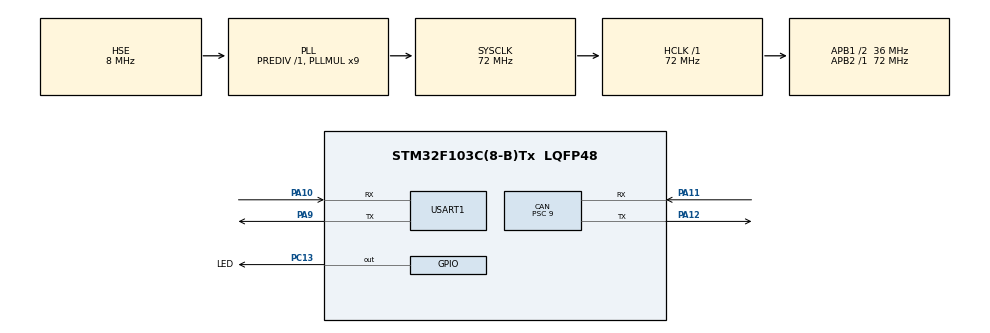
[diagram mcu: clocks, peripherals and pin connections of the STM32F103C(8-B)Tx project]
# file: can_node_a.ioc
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CAN.ABOM=ENABLE
CAN.BS1=CAN_BS1_3TQ
CAN.BS2=CAN_BS2_3TQ
CAN.CalculateBaudRate=571428
CAN.CalculateTimeBit=1750
CAN.CalculateTimeQuantum=250.0
CAN.Prescaler=9
FREERTOS.Queues01=CanMsgQueue,16,48,1,Dynamic,NULL,NULL
FREERTOS.Tasks01=CanTxTask,24,256,CanTxTask1,As weak,NULL,Dynamic,NULL,NULL;LedTask,24,128,LedTask1,As weak,NULL,Dynamic,NULL,NULL;CanRxTask,40,256,CanRxTask1,As weak,NULL,Dynamic,NULL,NULL
FREERTOS.configTOTAL_HEAP_SIZE=8192
Mcu.Family=STM32F1
Mcu.Name=STM32F103C(8-B)Tx
Mcu.Package=LQFP48
NVIC.PriorityGroup=NVIC_PRIORITYGROUP_4
NVIC.TIM4_IRQn=true\:15\:0\:false\:false\:true\:false\:false\:true\:true
NVIC.TimeBase=TIM4_IRQn
NVIC.TimeBaseIP=TIM4
PA10.Mode=Asynchronous
PA10.Signal=USART1_RX
PA11.Mode=CAN_Activate
PA11.Signal=CAN_RX
PA12.Mode=CAN_Activate
PA12.Signal=CAN_TX
PA13.Mode=Serial_Wire
PA13.Signal=SYS_JTMS-SWDIO
PA14.Mode=Serial_Wire
PA14.Signal=SYS_JTCK-SWCLK
PA9.Mode=Asynchronous
PA9.Signal=USART1_TX
PC13-TAMPER-RTC.GPIO_Label=LED
PC13-TAMPER-RTC.PinState=GPIO_PIN_SET
PC13-TAMPER-RTC.Signal=GPIO_Output
PD0-OSC_IN.Mode=HSE-External-Oscillator
PD0-OSC_IN.Signal=RCC_OSC_IN
PD1-OSC_OUT.Mode=HSE-External-Oscillator
PD1-OSC_OUT.Signal=RCC_OSC_OUT
ProjectManager.HeapSize=0x200
ProjectManager.StackSize=0x400
ProjectManager.TargetToolchain=CMake
RCC.AHBFreq_Value=72000000
RCC.APB1CLKDivider=RCC_HCLK_DIV2
RCC.APB1Freq_Value=36000000
RCC.APB1TimFreq_Value=72000000
RCC.APB2Freq_Value=72000000
RCC.APB2TimFreq_Value=72000000
RCC.HCLKFreq_Value=72000000
RCC.PLLMUL=RCC_PLL_MUL9
RCC.PLLSourceVirtual=RCC_PLLSOURCE_HSE
RCC.SYSCLKFreq_VALUE=72000000
RCC.SYSCLKSource=RCC_SYSCLKSOURCE_PLLCLK
RCC.USBFreq_Value=72000000
USART1.VirtualMode=VM_ASYNC
VP_FREERTOS_VS_CMSIS_V2.Mode=CMSIS_V2
VP_SYS_VS_tim4.Mode=TIM4
board=custom

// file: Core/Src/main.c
/* USER CODE BEGIN Header */
/**
  ******************************************************************************
  * @file           : main.c
  * @brief          : Main program body
  ******************************************************************************
  * @attention
  *
  * Copyright (c) 2026 STMicroelectronics.
  * All rights reserved.
  *
  * This software is licensed under terms that can be found in the LICENSE file
  * in the root directory of this software component.
  * If no LICENSE file comes with this software, it is provided AS-IS.
  *
  ******************************************************************************
  */
/* USER CODE END Header */
#include "main.h"
#include "cmsis_os.h"
#include "can.h"
#include "usart.h"
#include "gpio.h"

/* USER CODE BEGIN Includes */
#include <stdio.h>
#include "can_app.h"
/* USER CODE END Includes */

void SystemClock_Config(void);
void MX_FREERTOS_Init(void);

/* USER CODE BEGIN 0 */

/**
  * @brief   输出一个字符到 USART1（printf 重定向核心函数）
  * @param   ch   待输出的字符
  * @retval  返回字符本身
  * @note    syscalls.c 中的 _write() 会逐个字符调用此函数
  *          此函数覆盖了 syscalls.c 中 __weak 的默认空实现
  */
int __io_putchar(int ch)
{
    HAL_UART_Transmit(&huart1, (uint8_t *)&ch, 1, HAL_MAX_DELAY);
    return ch;
}

/* USER CODE END 0 */

int main(void)
{

  /* MCU Configuration--------------------------------------------------------*/

  /* Reset of all peripherals, Initializes the Flash interface and the Systick. */
  HAL_Init();

  /* Configure the system clock */
  SystemClock_Config();

  /* Initialize all configured peripherals */
  MX_GPIO_Init();
  MX_CAN_Init();
  MX_USART1_UART_Init();
  /* USER CODE BEGIN 2 */

  /* 初始化 CAN 应用层：启动 CAN + 使能 RX 中断 + 初始化通信状态 */
  if (CAN_App_Init() != 0)
  {
      Error_Handler();  /* CAN 启动失败，进入异常处理 */
  }

  /* 上电日志（通过串口输出，确认系统启动） */
  printf("\r\n========================================\r\n");
  printf("  CAN Node B 启动\r\n");
  printf("  MCU: STM32F103C8T6\r\n");
  printf("  CAN: 500Kbps, ID=0x200/0x201\r\n");
  printf("  FreeRTOS: V10.3.1, CMSIS-V2\r\n");
  printf("========================================\r\n");

  /* USER CODE END 2 */

  /* Init scheduler */
  osKernelInitialize();  /* Call init function for freertos objects (in cmsis_os2.c) */
  MX_FREERTOS_Init();

  /* Start scheduler */
  osKernelStart();

  /* We should never get here as control is now taken by the scheduler */

  /* Infinite loop */
  while (1)
  {

  }
}

void SystemClock_Config(void)
{
  RCC_OscInitTypeDef RCC_OscInitStruct = {0};
  RCC_ClkInitTypeDef RCC_ClkInitStruct = {0};

  /** Initializes the RCC Oscillators according to the specified parameters
  * in the RCC_OscInitTypeDef structure.
  */
  RCC_OscInitStruct.OscillatorType = RCC_OSCILLATORTYPE_HSE;
  RCC_OscInitStruct.HSEState = RCC_HSE_ON;
  RCC_OscInitStruct.HSEPredivValue = RCC_HSE_PREDIV_DIV1;
  RCC_OscInitStruct.HSIState = RCC_HSI_ON;
  RCC_OscInitStruct.PLL.PLLState = RCC_PLL_ON;
  RCC_OscInitStruct.PLL.PLLSource = RCC_PLLSOURCE_HSE;
  RCC_OscInitStruct.PLL.PLLMUL = RCC_PLL_MUL9;
  if (HAL_RCC_OscConfig(&RCC_OscInitStruct) != HAL_OK)
  {
    Error_Handler();
  }

  /** Initializes the CPU, AHB and APB buses clocks
  */
  RCC_ClkInitStruct.ClockType = RCC_CLOCKTYPE_HCLK|RCC_CLOCKTYPE_SYSCLK
                              |RCC_CLOCKTYPE_PCLK1|RCC_CLOCKTYPE_PCLK2;
  RCC_ClkInitStruct.SYSCLKSource = RCC_SYSCLKSOURCE_PLLCLK;
  RCC_ClkInitStruct.AHBCLKDivider = RCC_SYSCLK_DIV1;
  RCC_ClkInitStruct.APB1CLKDivider = RCC_HCLK_DIV2;
  RCC_ClkInitStruct.APB2CLKDivider = RCC_HCLK_DIV1;

  if (HAL_RCC_ClockConfig(&RCC_ClkInitStruct, FLASH_LATENCY_2) != HAL_OK)
  {
    Error_Handler();
  }
}

void HAL_TIM_PeriodElapsedCallback(TIM_HandleTypeDef *htim)
{
  if (htim->Instance == TIM4)
  {
    HAL_IncTick();
  }
}

void Error_Handler(void)
{
  __disable_irq();
  while (1)
  {
  }
}

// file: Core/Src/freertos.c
/* USER CODE BEGIN Header */
/**
  ******************************************************************************
  * File Name          : freertos.c
  * Description        : Code for freertos applications
  ******************************************************************************
  * @attention
  *
  * Copyright (c) 2026 STMicroelectronics.
  * All rights reserved.
  *
  * This software is licensed under terms that can be found in the LICENSE file
  * in the root directory of this software component.
  * If no LICENSE file comes with this software, it is provided AS-IS.
  *
  ******************************************************************************
  */
/* USER CODE END Header */

#include "FreeRTOS.h"
#include "task.h"
#include "main.h"
#include "cmsis_os.h"

/* USER CODE BEGIN Includes */
#include "can_protocol.h"
#include "can_app.h"
#include "can.h"
/* USER CODE END Includes */

/* USER CODE BEGIN Variables */
extern sys_comm_status_t g_comm_status;  /* 定义在 can_app.c，所有任务共享 */
/* USER CODE END Variables */
/* Definitions for CanTxTask */
osThreadId_t CanTxTaskHandle;
const osThreadAttr_t CanTxTask_attributes = {
  .name = "CanTxTask",
  .stack_size = 256 * 4,
  .priority = (osPriority_t) osPriorityNormal,
};
/* Definitions for LedTask */
osThreadId_t LedTaskHandle;
const osThreadAttr_t LedTask_attributes = {
  .name = "LedTask",
  .stack_size = 128 * 4,
  .priority = (osPriority_t) osPriorityNormal,
};
/* Definitions for CanRxTask */
osThreadId_t CanRxTaskHandle;
const osThreadAttr_t CanRxTask_attributes = {
  .name = "CanRxTask",
  .stack_size = 256 * 4,
  .priority = (osPriority_t) osPriorityHigh,
};
/* Definitions for CanMsgQueue */
osMessageQueueId_t CanMsgQueueHandle;
const osMessageQueueAttr_t CanMsgQueue_attributes = {
  .name = "CanMsgQueue"
};

void CanTxTask1(void *argument);
void LedTask1(void *argument);
void CanRxTask1(void *argument);

void MX_FREERTOS_Init(void); /* (MISRA C 2004 rule 8.1) */

void MX_FREERTOS_Init(void) {

  /* Create the queue(s) */
  /* creation of CanMsgQueue */
  CanMsgQueueHandle = osMessageQueueNew (16, 48, &CanMsgQueue_attributes);

  /* Create the thread(s) */
  /* creation of CanTxTask */
  CanTxTaskHandle = osThreadNew(CanTxTask1, NULL, &CanTxTask_attributes);

  /* creation of LedTask */
  LedTaskHandle = osThreadNew(LedTask1, NULL, &LedTask_attributes);

  /* creation of CanRxTask */
  CanRxTaskHandle = osThreadNew(CanRxTask1, NULL, &CanRxTask_attributes);

}

__weak void CanTxTask1(void *argument)
{
  /* USER CODE BEGIN CanTxTask1 */
  /* Infinite loop */
  for(;;)
  {
    uint8_t data[8];
    uint8_t heartbeat_flags;

    /* 发送前健康检查：防止节点独处时发送失败累积 → Bus-Off */
    CAN_App_CheckAndRecoverBusOff();

    /* 周期性打印通信状态（每 2 秒一次） */
    CAN_App_PrintStatusIfDue();

    /* ---- 心跳帧：每 200ms 发送一次 ---- */
    {
      /* 组装本节点标志位：CAN 正常 + 检查对方是否在线 */
      heartbeat_flags  = HEARTBEAT_FLAG_CAN_OK;
      heartbeat_flags |= HEARTBEAT_FLAG_SENSOR_OK;  /* Demo 阶段传感器始终就绪 */

      /* 根据心跳超时判定对方是否在线
       * 注意：这是唯一判断对方在线的地方，结果同步到 local_state 供 LedTask 读取 */
      if ((HAL_GetTick() - g_comm_status.last_rx_tick) < HEARTBEAT_TIMEOUT_MS)
      {
        heartbeat_flags |= HEARTBEAT_FLAG_PEER_ONLINE;   /* 告知对方：我收到了你的心跳 */
        g_comm_status.peer_online = 1;
        g_comm_status.local_state |= HEARTBEAT_FLAG_PEER_ONLINE;   /* 同步本地状态 */
      }
      else
      {
        g_comm_status.peer_online = 0;
        g_comm_status.local_state &= ~HEARTBEAT_FLAG_PEER_ONLINE;  /* 同步本地状态 */
      }

      /* 序列号 0~255 循环递增（uint8_t 自然溢出回绕） */
      g_comm_status.heartbeat_seq_tx++;

      /* 构造并发送心跳帧（Node B 使用 ID=0x200） */
      CAN_Protocol_BuildHeartbeat(CAN_ID_HEARTBEAT_B, data,
                                   heartbeat_flags, g_comm_status.heartbeat_seq_tx);
      CAN_App_SendFrame(CAN_ID_HEARTBEAT_B, data, 8);

      /* 帧类型计数 */
      g_comm_status.tx_heartbeat_cnt++;
    }

    /* ---- 传感器帧：每 500ms 发送一次 ---- */
    {
      static uint32_t last_sensor_tick = 0;  /* 上次发送传感器帧的时间戳 */
      static uint16_t sensor_val1 = 0;       /* 模拟值1：递增 */
      static uint16_t sensor_val2 = 1000;    /* 模拟值2：递减 */

      if ((HAL_GetTick() - last_sensor_tick) >= SENSOR_PERIOD_MS)
      {
        last_sensor_tick = HAL_GetTick();

        /* 模拟传感器数据变化 */
        sensor_val1++;    /* 模拟温度：缓慢上升，uint16_t 溢出自动回绕 */
        if (sensor_val2 > 0)
        {
            sensor_val2--;    /* 模拟湿度：缓慢下降，避免下溢 */
        }

        /* 构造并发送传感器帧（Node B 使用 ID=0x201） */
        CAN_Protocol_BuildSensor(CAN_ID_SENSOR_B, data,
                                  g_comm_status.heartbeat_seq_tx,
                                  sensor_val1, sensor_val2);
        CAN_App_SendFrame(CAN_ID_SENSOR_B, data, 8);

        /* 帧类型计数 */
        g_comm_status.tx_sensor_cnt++;
      }
    }

    osDelay(HEARTBEAT_PERIOD_MS);  /* 200ms 循环（心跳周期） */
  }
  /* USER CODE END CanTxTask1 */
}

__weak void LedTask1(void *argument)
{
  /* USER CODE BEGIN LedTask1 */
  /* Infinite loop */
  for(;;)
  {
    /* 状态机：根据通信状态切换 LED 闪烁模式 */
    if (g_comm_status.bus_off_count > 0)
    {
      /* ---- 错误模式：CAN Bus-Off，LED 常亮 ---- */
      HAL_GPIO_WritePin(LED_GPIO_Port, LED_Pin, GPIO_PIN_RESET);
    }
    else if (!(g_comm_status.local_state & HEARTBEAT_FLAG_PEER_ONLINE))
    {
      /* ---- 对方离线：慢闪 500ms ---- */
      HAL_GPIO_TogglePin(LED_GPIO_Port, LED_Pin);
      osDelay(500);
    }
    else if (g_comm_status.local_state & HEARTBEAT_FLAG_WARNING)
    {
      /* ---- 告警状态：快闪 200ms ---- */
      HAL_GPIO_TogglePin(LED_GPIO_Port, LED_Pin);
      osDelay(200);
    }
    else
    {
      /* ---- 正常状态：心跳闪烁（亮 100ms → 灭 1900ms）---- */
      HAL_GPIO_WritePin(LED_GPIO_Port, LED_Pin, GPIO_PIN_RESET);  /* 亮 */
      osDelay(100);
      HAL_GPIO_WritePin(LED_GPIO_Port, LED_Pin, GPIO_PIN_SET);    /* 灭 */
      osDelay(1900);
    }
  }
  /* USER CODE END LedTask1 */
}

__weak void CanRxTask1(void *argument)
{
  /* USER CODE BEGIN CanRxTask1 */
  /* Infinite loop */
  for(;;)
  {
    can_msg_t rx_msg;

    /* 阻塞等待 CAN 消息（osWaitForever = 永远等，不消费 CPU） */
    if (osMessageQueueGet(CanMsgQueueHandle, &rx_msg, NULL, osWaitForever) == osOK)
    {
      /* 交给应用层处理：协议分发 + 业务逻辑 */
      CAN_App_ProcessRxMsg(&rx_msg);
    }
  }
  /* USER CODE END CanRxTask1 */
}

/* USER CODE BEGIN Application */

/**
  * @brief   CAN FIFO0 消息挂起回调（ISR 上下文）
  * @note    由 HAL_CAN_IRQHandler → HAL 自动调用
  *          ISR 中只做三件事：读 FIFO → 封装 → 塞队列（<10μs）
  *          不做协议解析、不打印日志、不操作耗时外设
  * @warning timeout=0 确保在 ISR 中不会阻塞
  */
void HAL_CAN_RxFifo0MsgPendingCallback(CAN_HandleTypeDef *hcan)
{
    CAN_RxHeaderTypeDef rx_header;
    can_msg_t           msg;

    /* 从硬件 FIFO0 读取一帧 CAN 消息 */
    if (HAL_CAN_GetRxMessage(hcan, CAN_RX_FIFO0, &rx_header, msg.data) != HAL_OK)
    {
        return;  /* 读取失败，静默返回（下次中断重试） */
    }

    /* 封装消息结构体 */
    msg.id        = rx_header.StdId;          /* 标准帧 ID */
    msg.ide       = rx_header.IDE;            /* 0=标准帧 */
    msg.rtr       = rx_header.RTR;            /* 0=数据帧 */
    msg.dlc       = rx_header.DLC;            /* 数据长度 */
    msg.timestamp = HAL_GetTick();            /* 接收时间戳 (ms) */

    /* 发送到 FreeRTOS 消息队列
     * timeout=0 → ISR 安全，队列满时立即返回，不阻塞 */
    osMessageQueuePut(CanMsgQueueHandle, &msg, 0, 0);
}

/* USER CODE END Application */
